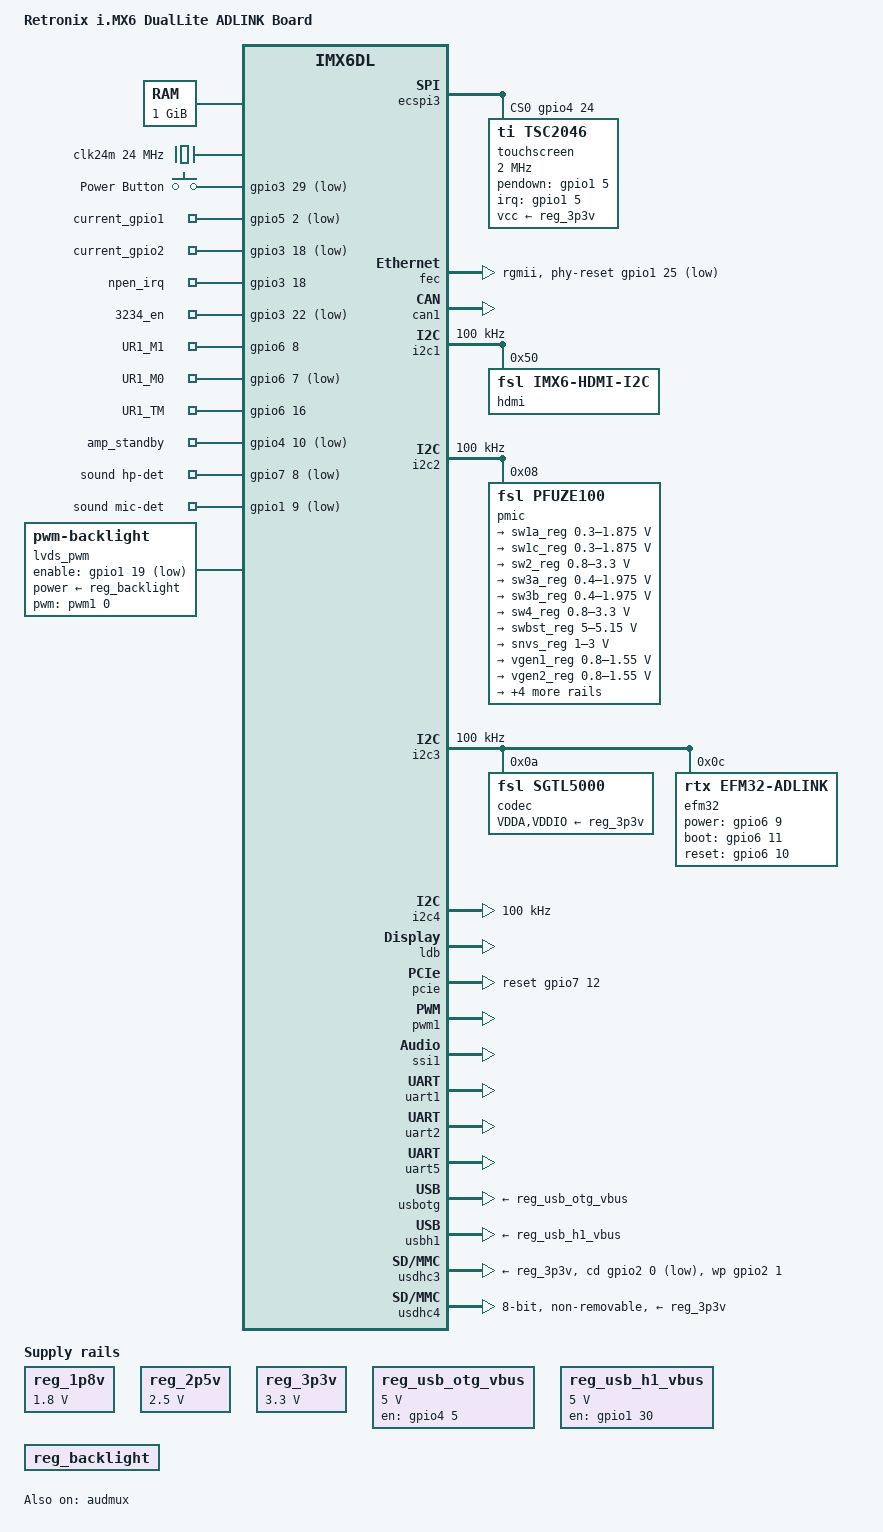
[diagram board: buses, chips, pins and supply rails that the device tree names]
/*
 * Copyright 2012 Freescale Semiconductor, Inc.
 * Copyright 2011 Linaro Ltd.
 *
 * The code contained herein is licensed under the GNU General Public
 * License. You may obtain a copy of the GNU General Public License
 * Version 2 or later at the following locations:
 *
 * http://www.opensource.org/licenses/gpl-license.html
 * http://www.gnu.org/copyleft/gpl.html
 */

/dts-v1/;

#include "skeleton.dtsi"
#include "imx6dl-pinfunc.h"
#include <dt-bindings/gpio/gpio.h>
#include <dt-bindings/interrupt-controller/arm-gic.h>
#include <dt-bindings/clock/imx6qdl-clock.h>
#include <dt-bindings/input/input.h>
#include "rtx-imx6dl-soc.dtsi"
#include "rtx-imx6dl-adlink-abb-iomux.dtsi"

/ {
	model = "Retronix i.MX6 DualLite ADLINK Board";
	compatible = "rtx,rtx-imx6dl-adlink-abb", "fsl,imx6dl";
	
	aliases {
		mxcfb0 = &mxcfb1;
		mxcfb1 = &mxcfb2;
		mxcfb2 = &mxcfb3;
		mxcfb3 = &mxcfb4;
	};
	
	memory {
		reg = <0x10000000 0x40000000>;
	};
	
	clocks {
		clk24m: clk24m {
			compatible = "fixed-clock";
			#clock-cells = <0>;
			clock-frequency = <24000000>;
		};
	};
	
	regulators {
		compatible = "simple-bus";
		#address-cells = <1>;
		#size-cells = <0>;
		
		reg_1p8v: 1p8v {
			compatible = "regulator-fixed";
			regulator-name = "1P8V";
			regulator-min-microvolt = <1800000>;
			regulator-max-microvolt = <1800000>;
			regulator-always-on;
		};

		reg_2p5v: 2p5v {
			compatible = "regulator-fixed";
			regulator-name = "2P5V";
			regulator-min-microvolt = <2500000>;
			regulator-max-microvolt = <2500000>;
			regulator-always-on;
		};

		reg_3p3v: 3p3v {
			compatible = "regulator-fixed";
			regulator-name = "3P3V";
			regulator-min-microvolt = <3300000>;
			regulator-max-microvolt = <3300000>;
			regulator-always-on;
		};

		reg_usb_otg_vbus: usb_otg_vbus {
			compatible = "regulator-fixed";
			regulator-name = "usb_otg_vbus";
			regulator-min-microvolt = <5000000>;
			regulator-max-microvolt = <5000000>;
			gpio = <&gpio4 5 0>;
			enable-active-high;
		};

		reg_usb_h1_vbus: usb_h1_vbus {
			compatible = "regulator-fixed";
			regulator-name = "usb_h1_vbus";
			regulator-min-microvolt = <5000000>;
			regulator-max-microvolt = <5000000>;
			gpio = <&gpio1 30 0>;
			enable-active-high;
		};

		reg_backlight: backlight {
			compatible = "regulator-fixed";
			regulator-name = "lcd-supply";
			startup-delay-us = <5000>;
			enable-active-high;
		};
		
	};

	gpio-keys {
		compatible = "gpio-keys";
		pinctrl-names = "default";
		pinctrl-0 = <&pinctrl_keys_adlink>;
		
		power {
			label = "Power Button";
			gpios = <&gpio3 29 1>;
			linux,code = <KEY_POWER>; /* KEY_POWER */
			gpio-key,wakeup;
		};
		
	};

	gpio-export {
		compatible = "gpio-export";

		/* current_gpio1 = <&gpio5 2 0>; 130 */
		current_gpio1 {
			/*gpio-export,name = "current_gpio1";*/
			gpio-export,output = <1>;
			gpio-export,direction_may_change ;
			gpios = <&gpio5 2 1>;
		};

		/* current_gpio2 = <&gpio3 18 0>; 82 */
		current_gpio2 {
			/*gpio-export,name = "current_gpio2";*/
			gpio-export,output = <1>;
			gpio-export,direction_may_change ;
			gpios = <&gpio3 18 1>;
		};

		/* npen_irq = <&gpio1 5 0>; 5 */
		npen_irq {
			/*gpio-export,name = "npen_irq";*/
			gpio-export,direction_may_change ;
			gpios = <&gpio3 18 0>;
		};
		
		/* 3234_en = <&gpio3 22 1>; 101 */
		3234_en {
			/*gpio-export,name = "3234_en";*/
			gpio-export,output = <1>;
			gpio-export,direction_may_change ;
			gpios = <&gpio3 22 1>;
		};

		/* UR1_M1 = <&gpio6 8 0>; 168 */
		UR1_M1 {
			/*gpio-export,name = "UR1_M1";*/
			gpio-export,output = <0>;
			gpio-export,direction_may_change ;
			gpios = <&gpio6 8 0>;
		};
		
		/* UR1_M0 = <&gpio6 7 1>; 167 */
		UR1_M0 {
			/*gpio-export,name = "UR1_M0";*/
			gpio-export,output = <1>;
			gpio-export,direction_may_change ;
			gpios = <&gpio6 7 1>;
		};
		
		/* UR1_TM = <&gpio6 16 0>; 176 */
		UR1_TM {
			/*gpio-export,name = "UR1_TM";*/
			gpio-export,output = <0>;
			gpio-export,direction_may_change ;
			gpios = <&gpio6 16 0>;
		};	
				
		/* amp_standby = <&gpio4 10 0>; 106 */
		amp_standby {
			/*gpio-export,name = "amp_standby";*/
			gpio-export,output = <1>;
			gpio-export,direction_may_change ;
			gpios = <&gpio4 10 1>;
		};

	};

	sound {
		compatible = "fsl,imx6q-rtx-pitx-sgtl5000",
			     "fsl,imx-audio-sgtl5000";
		model = "imx6q-rtx-pitx-sgtl5000";
		ssi-controller = <&ssi1>;
		audio-codec = <&codec>;
		audio-routing =
			"MIC_IN", "Mic Jack",
			"LINE_IN", "Line In Jack",
			"Headphone Jack", "HP_OUT",
			"Ext Spk", "LINE_OUT";
		mux-int-port = <1>;
		mux-ext-port = <3>;
		hp-det-gpios = <&gpio7 8 1>;
		mic-det-gpios = <&gpio1 9 1>;
	};

	sound-hdmi {
		compatible = "fsl,imx6q-audio-hdmi",
			     "fsl,imx-audio-hdmi";
		model = "imx-audio-hdmi";
		hdmi-controller = <&hdmi_audio>;
	};

	lvds_pwm {
		compatible = "pwm-backlight";
		pwms = <&pwm1 0 5000000>;
		brightness-levels = <0 4 8 16 32 64 128 255>;
		default-brightness-level = <6>;
		enable-gpios = <&gpio1 19 1>;
		power-supply = <&reg_backlight>;
		status = "okay";
	};

	mxcfb1: fb@0 {
		compatible = "fsl,mxc_sdc_fb";
		disp_dev = "ldb";
		interface_pix_fmt = "RGB666";
		default_bpp = <16>;
		int_clk = <0>;
		late_init = <0>;
		status = "okay";
	};

	mxcfb2: fb@1 {
		compatible = "fsl,mxc_sdc_fb";
		disp_dev = "hdmi";
		interface_pix_fmt = "RGB24";
		mode_str ="1920x1080M@60";
		default_bpp = <24>;
		int_clk = <0>;
		late_init = <0>;
		status = "okay";
	};
	
	mxcfb3: fb@2 {
		compatible = "fsl,mxc_sdc_fb";
		disp_dev = "ldb";
		interface_pix_fmt = "RGB666";
		default_bpp = <16>;
		int_clk = <0>;
		late_init = <0>;
		status = "okay";
	};

	mxcfb4: fb@3 {
		compatible = "fsl,mxc_sdc_fb";
		disp_dev = "lcd";
		interface_pix_fmt = "RGB565";
		mode_str ="CLAA-WVGA";
		default_bpp = <16>;
		int_clk = <0>;
		late_init = <0>;
		status = "disabled";
	};
	
};

&audmux {
	pinctrl-names = "default";
	pinctrl-0 = <&pinctrl_audmux_link>;
	status = "okay";
};

&cpu0 {
	arm-supply = <&sw1a_reg>;
	soc-supply = <&sw1c_reg>;
};

&ecspi3 {
	fsl,spi-num-chipselects = <1>;
	cs-gpios = <&gpio4 24 0>;
	pinctrl-names = "default";
	pinctrl-0 = <&pinctrl_cspi3_adlink>;
	status = "okay"; /* pin conflict with USDHC3 */

        /*added for touchscreen on SPI2*/
        touchscreen: ads7846@0 {
		compatible = "ti,tsc2046";
		spi-max-frequency = <2000000>;
		reg = <0>;
		interrupt-parent = <&gpio1>;
		interrupts = <5 0>;	/* BOOT6 / GPIO 5 */
		pendown-gpio = <&gpio1 5 0>;
		vcc-supply = <&reg_3p3v>;

		ti,settle-delay-usec = /bits/ 16 <150>;
		ti,x-min = /bits/ 16 <0>;
		ti,x-max = /bits/ 16 <4096>;
		ti,y-min = /bits/ 16 <0>;
		ti,y-max = /bits/ 16 <4096>;
		ti,x-plate-ohms = /bits/ 16 <40>;
		ti,pressure-max = /bits/ 16 <128>;
		ti,debounce-max = /bits/ 16 <10>;
		ti,debounce-tol = /bits/ 16 <3>;
		ti,debounce-rep = /bits/ 16 <1>;
		linux,wakeup;
	};

/*
	flash: en25q32b@0 {
		compatible = "fsl,en25q32b";
		spi-max-frequency = <50000000>;
		reg = <0>;
	};
*/
};

&fec {
	pinctrl-names = "default";
	pinctrl-0 = <&pinctrl_enet_adlink>;
	phy-mode = "rgmii";
	phy-reset-gpios = <&gpio1 25 0>;
	phy-reset-fall-duration = <1>;
	phy-reset-rise-duration = <20>;
	phy-reset-boot-on;
	status = "okay";
};

&can1 {
	pinctrl-names = "default";
	pinctrl-0 = <&pinctrl_flexcan1_adlink>;
	
	status = "okay";
};

&gpc {
	fsl,ldo-bypass = <1>; /* use ldo-bypass, u-boot will check it and configure */
	fsl,wdog-reset = <2>; /* watchdog select of reset source */
};

&hdmi_audio {
	status = "disabled";
};

&hdmi_cec {
	pinctrl-names = "default";
	pinctrl-0 = <&pinctrl_hdmi_cec_adlink>;
	status = "disabled";
};

&hdmi_core {
	ipu_id = <0>;
	disp_id = <1>;
	status = "disabled";
};

&hdmi_video {
	fsl,phy_reg_vlev = <0x0294>;
	fsl,phy_reg_cksymtx = <0x800d>;
	status = "disabled";
};

&i2c1 {
	clock-frequency = <100000>;
	pinctrl-names = "default";
	pinctrl-0 = <&pinctrl_i2c1_adlink>;
	status = "okay";

	hdmi: edid@50 {
		compatible = "fsl,imx6-hdmi-i2c";
		reg = <0x50>;
	};
};

&i2c2 {
	clock-frequency = <100000>;
	pinctrl-names = "default";
	pinctrl-0 = <&pinctrl_i2c2_adlink>;
	status = "okay";

	pmic: pfuze100@08 {
		compatible = "fsl,pfuze100";
		reg = <0x08>;

		regulators {
			sw1a_reg: sw1ab {
				regulator-min-microvolt = <300000>;
				regulator-max-microvolt = <1875000>;
				regulator-boot-on;
				regulator-always-on;
				regulator-ramp-delay = <6250>;
			};

			sw1c_reg: sw1c {
				regulator-min-microvolt = <300000>;
				regulator-max-microvolt = <1875000>;
				regulator-boot-on;
				regulator-always-on;
				regulator-ramp-delay = <6250>;
			};

			sw2_reg: sw2 {
				regulator-min-microvolt = <800000>;
				regulator-max-microvolt = <3300000>;
				regulator-boot-on;
				regulator-always-on;
			};

			sw3a_reg: sw3a {
				regulator-min-microvolt = <400000>;
				regulator-max-microvolt = <1975000>;
				regulator-boot-on;
				regulator-always-on;
			};

			sw3b_reg: sw3b {
				regulator-min-microvolt = <400000>;
				regulator-max-microvolt = <1975000>;
				regulator-boot-on;
				regulator-always-on;
			};

			sw4_reg: sw4 {
				regulator-min-microvolt = <800000>;
				regulator-max-microvolt = <3300000>;
				regulator-boot-on;
				regulator-always-on;				
			};

			swbst_reg: swbst {
				regulator-min-microvolt = <5000000>;
				regulator-max-microvolt = <5150000>;
				regulator-boot-on;
				regulator-always-on;	
			};

			snvs_reg: vsnvs {
				regulator-min-microvolt = <1000000>;
				regulator-max-microvolt = <3000000>;
				regulator-boot-on;
				regulator-always-on;
			};

			vref_reg: vrefddr {
				regulator-boot-on;
				regulator-always-on;
			};

			vgen1_reg: vgen1 {
				regulator-min-microvolt = <800000>;
				regulator-max-microvolt = <1550000>;
				regulator-boot-on;
				regulator-always-on;				
			};

			vgen2_reg: vgen2 {
				regulator-min-microvolt = <800000>;
				regulator-max-microvolt = <1550000>;
				regulator-boot-on;
				regulator-always-on;				
			};

			vgen3_reg: vgen3 {
				regulator-min-microvolt = <1800000>;
				regulator-max-microvolt = <3300000>;
				regulator-boot-on;
				regulator-always-on;				
			};

			vgen4_reg: vgen4 {
				regulator-min-microvolt = <1800000>;
				regulator-max-microvolt = <3300000>;
				regulator-always-on;
			};

			vgen5_reg: vgen5 {
				regulator-min-microvolt = <1800000>;
				regulator-max-microvolt = <3300000>;
				regulator-always-on;
			};

			vgen6_reg: vgen6 {
				regulator-min-microvolt = <1800000>;
				regulator-max-microvolt = <3300000>;
				regulator-always-on;
			};
		};
	};


};

&i2c3 {
	clock-frequency = <100000>;
	pinctrl-names = "default";
	pinctrl-0 = <&pinctrl_i2c3_adlink>;
	status = "okay";

	codec: sgtl5000@0a {
		compatible = "fsl,sgtl5000";
		reg = <0x0a>;
		clocks = <&clks IMX6QDL_CLK_CKO>;
		VDDA-supply = <&reg_3p3v>;
		VDDIO-supply = <&reg_3p3v>;
		amic-mono;
	};
	
	efm32: rtx-efm32@0c {
		compatible = "rtx,efm32-adlink";
		pinctrl-names = "default";
		pinctrl-0 = <&pinctrl_mcu_adlink>;
		reg = <0x0c>;
		gpio-power = <&gpio6 9 0>;
		gpio-boot = <&gpio6 11 0>;
		gpio-reset = <&gpio6 10 0>;
	};
};

&i2c4 {
	clock-frequency = <100000>;
	pinctrl-names = "default";
	pinctrl-0 = <&pinctrl_i2c4_adlink>;
	status = "okay";
};

&ldb {
	status = "okay";

	lvds-channel@0 {
		fsl,data-mapping = "spwg";
		fsl,data-width = <18>;
		primary;
		crtc = "ipu1-di0";
		interface_pix_fmt = "RGB666";
		status = "okay";

		display-timings {
			native-mode = <&timing0>;
			timing0: hsd100pxn1 {
				clock-frequency = <51208000>;
				hactive = <1024>;
				hfront-porch = <80>;
				hback-porch = <160>;
				hsync-len = <80>;
				vactive = <600>;
				vfront-porch = <10>;
				vback-porch = <18>;
				vsync-len = <7>;
				mode-is-detailed ;
				de-active = <1>;
			};
		};
	};
	
};

&pcie {
	pinctrl-names = "default";
	pinctrl-0 = <&pinctrl_pcie_adlink>;
	reset-gpio = <&gpio7 12 0>;
	status = "okay";
};

&pwm1 {
	pinctrl-names = "default";
	pinctrl-0 = <&pinctrl_pwm1_adlink>;
	status = "okay";
};

&ssi1 {
	fsl,mode = "i2s-slave";
	status = "okay";
};

&uart1 {
	pinctrl-names = "default";
	pinctrl-0 = <&pinctrl_uart1_dte &pinctrl_uart1_ctrl>;
	fsl,dte-mode;
	fsl,uart-has-rtscts;
	status = "okay";
};

&uart2 {
	pinctrl-names = "default";
	pinctrl-0 = <&pinctrl_uart2_dte>;
	status = "okay";
};

&uart5 {
	pinctrl-names = "default";
	pinctrl-0 = <&pinctrl_uart5_dte>;
	fsl,dte-mode;
	fsl,uart-has-rtscts;
	status = "okay";
};

&usbotg {
	pinctrl-names = "default";
	pinctrl-0 = <&pinctrl_usbotg_adlink>;
	vbus-supply = <&reg_usb_otg_vbus>;
	status = "okay";
};

&usbh1 {
	pinctrl-names = "default";
	pinctrl-0 = <&pinctrl_usbh1_adlink>;
	vbus-supply = <&reg_usb_h1_vbus>;
	status = "okay";
};

&usdhc3 {
	pinctrl-names = "default";
	pinctrl-0 = <&pinctrl_usdhc3_50mhz &pinctrl_usdhc3_cd_wp>;
	cd-gpios = <&gpio2 0 GPIO_ACTIVE_LOW>;
	wp-gpios = <&gpio2 1 GPIO_ACTIVE_HIGH>;
	vmmc-supply = <&reg_3p3v>;
	no-1-8-v;
	keep-power-in-suspend;
	enable-sdio-wakeup;
	status = "okay";
};

&usdhc4 {
	pinctrl-names = "default";
	pinctrl-0 = <&pinctrl_usdhc4_adlink>;
	vmmc-supply = <&reg_3p3v>;
	bus-width = <8>;
	non-removable;
	no-1-8-v;
	keep-power-in-suspend;
	status = "okay";
};
